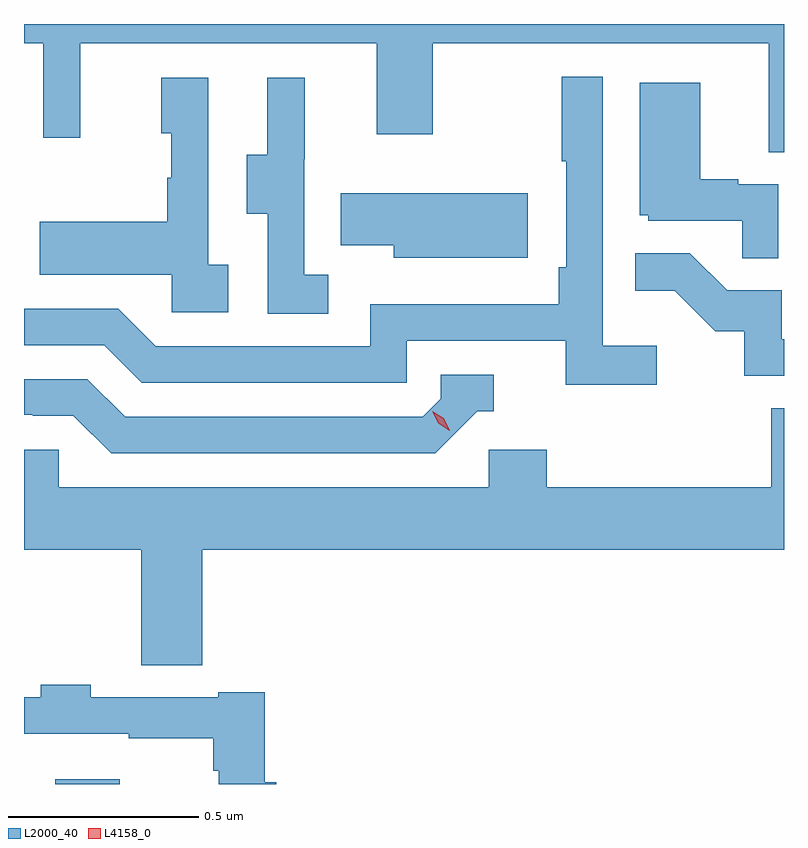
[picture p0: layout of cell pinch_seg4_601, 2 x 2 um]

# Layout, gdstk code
import gdstk
lib = gdstk.Library(unit=1e-6, precision=1e-09)
def R(c, l, rs):  # rectangles x0, y0, x1, y1
    for r in rs: c.add(gdstk.rectangle(r[:2], r[2:], *l))
def P(c, l, *ps):  # polygons
    for p in ps: c.add(gdstk.Polygon(p, *l))
L2000_40 = (2000, 40)
L4158_0 = (4158, 0)

pinch_seg4_601 = lib.new_cell('pinch_seg4_601')
R(pinch_seg4_601, L2000_40, [(1044.701,769.563,1044.871,769.576)])
P(pinch_seg4_601, L2000_40, [(1046.619,771.563),(1044.619,771.563),(1044.619,771.512),(1044.669,771.512),(1044.669,771.264),(1044.767,771.264),(1044.767,771.512),(1045.547,771.512),(1045.547,771.273),(1045.695,771.273),(1045.695,771.512),(1046.579,771.512),(1046.579,771.226),(1046.619,771.226)],
  [(1046.284,770.716),(1046.142,770.716),(1046.142,771.424),(1046.034,771.424),(1046.034,771.202),(1046.046,771.202),(1046.046,770.923),(1046.026,770.923),(1046.026,770.826),(1045.53,770.826),(1045.53,770.715),(1044.966,770.715),(1044.867,770.814),(1044.619,770.814),(1044.619,770.718),(1044.83,770.718),(1044.929,770.619),(1045.626,770.619),(1045.626,770.73),(1046.045,770.73),(1046.045,770.614),(1046.284,770.614)],
  [(1045.42,770.903),(1045.356,770.903),(1045.356,771.207),(1045.358,771.207),(1045.358,771.421),(1045.259,771.421),(1045.259,771.219),(1045.205,771.219),(1045.205,771.064),(1045.26,771.064),(1045.26,770.8),(1045.42,770.8)],
  [(1045.156,770.93),(1045.104,770.93),(1045.104,771.421),(1044.98,771.421),(1044.98,771.276),(1045.006,771.276),(1045.006,771.158),(1044.996,771.158),(1044.996,771.043),(1044.661,771.043),(1044.661,770.903),(1045.008,770.903),(1045.008,770.805),(1045.156,770.805)],
  [(1046.604,771.141),(1046.498,771.141),(1046.498,771.154),(1046.398,771.154),(1046.398,771.409),(1046.24,771.409),(1046.24,771.06),(1046.262,771.06),(1046.262,771.045),(1046.509,771.045),(1046.509,770.947),(1046.604,770.947)],
  [(1045.945,771.118),(1045.453,771.118),(1045.453,770.981),(1045.592,770.981),(1045.592,770.948),(1045.945,770.948)],
  [(1046.619,770.733),(1046.613,770.733),(1046.613,770.862),(1046.469,770.862),(1046.371,770.96),(1046.227,770.96),(1046.227,770.861),(1046.331,770.861),(1046.438,770.754),(1046.515,770.754),(1046.515,770.637),(1046.619,770.637)],
  [(1045.812,770.544),(1045.855,770.544),(1045.855,770.64),(1045.716,770.64),(1045.716,770.577),(1045.668,770.529),(1044.885,770.529),(1044.786,770.628),(1044.619,770.628),(1044.619,770.535),(1044.642,770.535),(1044.642,770.532),(1044.749,770.532),(1044.848,770.433),(1045.701,770.433)],
  [(1045.088,770.18),(1046.619,770.18),(1046.619,770.552),(1046.585,770.552),(1046.585,770.344),(1045.994,770.344),(1045.994,770.442),(1045.842,770.442),(1045.842,770.344),(1044.711,770.344),(1044.711,770.442),(1044.619,770.442),(1044.619,770.18),(1044.928,770.18),(1044.928,769.876),(1045.088,769.876)],
  [(1045.283,769.567),(1045.253,769.567),(1045.253,769.804),(1045.13,769.804),(1045.13,769.791),(1044.795,769.791),(1044.795,769.824),(1044.663,769.824),(1044.663,769.791),(1044.619,769.791),(1044.619,769.695),(1044.895,769.695),(1044.895,769.683),(1045.117,769.683),(1045.117,769.598),(1045.132,769.598),(1045.132,769.563),(1045.283,769.563)])
P(pinch_seg4_601, L4158_0, [(1045.74,770.492),(1045.709,770.512),(1045.693,770.544),(1045.693,770.544),(1045.693,770.544),(1045.724,770.525),(1045.74,770.492),(1045.74,770.492)])

lib.write_gds('pinch_seg4_601.gds')
